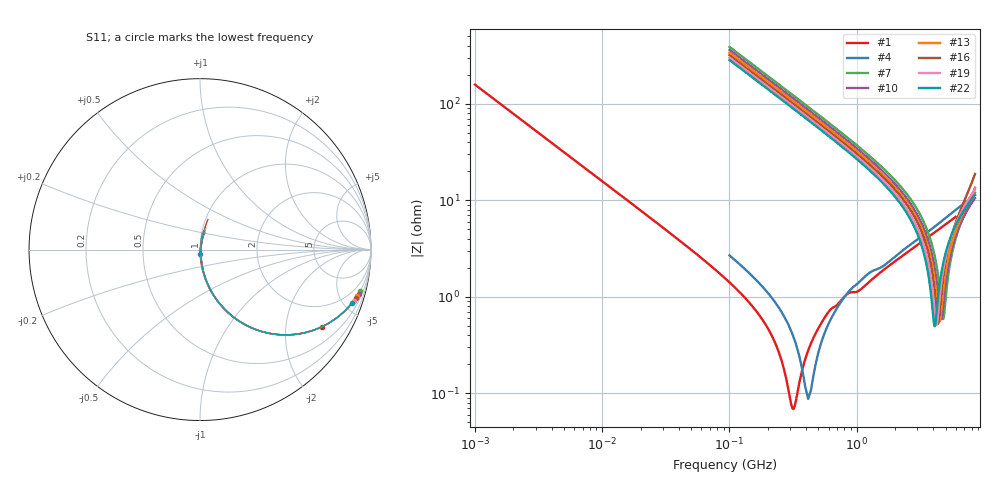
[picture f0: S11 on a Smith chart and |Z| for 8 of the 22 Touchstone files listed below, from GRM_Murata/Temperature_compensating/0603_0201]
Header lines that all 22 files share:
!These Parameters are Measured in Series Mode Connection
!Data Generated on Mar 30, 2021
!  o--ll--o
!Port1  Port2
!  o------o
!Operation Temp=25[degC], DC Bias Voltage=0[V]
# Hz S RI R 50
!Freq.(Hz) S11(Real) S11(Imag) S21(Real) S21(Imag) S12(Real) S12(Imag) S22(Real) S22(Imag)
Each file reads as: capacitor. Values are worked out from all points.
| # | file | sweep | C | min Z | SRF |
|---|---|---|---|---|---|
| 1 | GRM0332C1E102GA01.s2p | 1 MHz to 6 GHz | 1.01 nF | 68.5 mohm | 318.1 MHz |
| 2 | GRM0332C1E331JA01.s2p | 100 MHz to 8.5 GHz | 330 pF | 120 mohm | 531.1 MHz |
| 3 | GRM0332C1E471GA01.s2p | 100 MHz to 8.5 GHz | 470 pF | 100 mohm | 445.7 MHz |
| 4 | GRM0332C1E561GA01.s2p | 100 MHz to 8.5 GHz | 559 pF | 87.3 mohm | 418 MHz |
| 5 | GRM0332C1E681GA01.s2p | 100 MHz to 8.5 GHz | 680 pF | 88.9 mohm | 382.9 MHz |
| 6 | GRM0332C1H4R0BA01.s2p | 100 MHz to 8.5 GHz | 4 pF | 574 mohm | 4.875 GHz |
| 7 | GRM0332C1H4R1BA01.s2p | 100 MHz to 8.5 GHz | 4.1 pF | 587 mohm | 4.785 GHz |
| 8 | GRM0332C1H4R2BA01.s2p | 100 MHz to 8.5 GHz | 4.2 pF | 580 mohm | 4.73 GHz |
| 9 | GRM0332C1H4R3BA01.s2p | 100 MHz to 8.5 GHz | 4.3 pF | 573 mohm | 4.676 GHz |
| 10 | GRM0332C1H4R4BA01.s2p | 100 MHz to 8.5 GHz | 4.4 pF | 587 mohm | 4.626 GHz |
| 11 | GRM0332C1H4R5CA01.s2p | 100 MHz to 8.5 GHz | 4.5 pF | 580 mohm | 4.575 GHz |
| 12 | GRM0332C1H4R6WA01.s2p | 100 MHz to 8.5 GHz | 4.6 pF | 573 mohm | 4.526 GHz |
| 13 | GRM0332C1H4R7BA01.s2p | 100 MHz to 8.5 GHz | 4.7 pF | 556 mohm | 4.483 GHz |
| 14 | GRM0332C1H4R8BA01.s2p | 100 MHz to 8.5 GHz | 4.8 pF | 551 mohm | 4.437 GHz |
| 15 | GRM0332C1H4R9BA01.s2p | 100 MHz to 8.5 GHz | 4.9 pF | 546 mohm | 4.393 GHz |
| 16 | GRM0332C1H5R0BA01.s2p | 100 MHz to 8.5 GHz | 5 pF | 527 mohm | 4.368 GHz |
| 17 | GRM0332C1H5R1BA01.s2p | 100 MHz to 8.5 GHz | 5.1 pF | 521 mohm | 4.329 GHz |
| 18 | GRM0332C1H5R2BA01.s2p | 100 MHz to 8.5 GHz | 5.2 pF | 515 mohm | 4.291 GHz |
| 19 | GRM0332C1H5R3BA01.s2p | 100 MHz to 8.5 GHz | 5.3 pF | 509 mohm | 4.237 GHz |
| 20 | GRM0332C1H5R4BA01.s2p | 100 MHz to 8.5 GHz | 5.4 pF | 504 mohm | 4.199 GHz |
| 21 | GRM0332C1H5R5BA01.s2p | 100 MHz to 8.5 GHz | 5.5 pF | 500 mohm | 4.162 GHz |
| 22 | GRM0332C1H5R6BA01.s2p | 100 MHz to 8.5 GHz | 5.6 pF | 494 mohm | 4.109 GHz |
